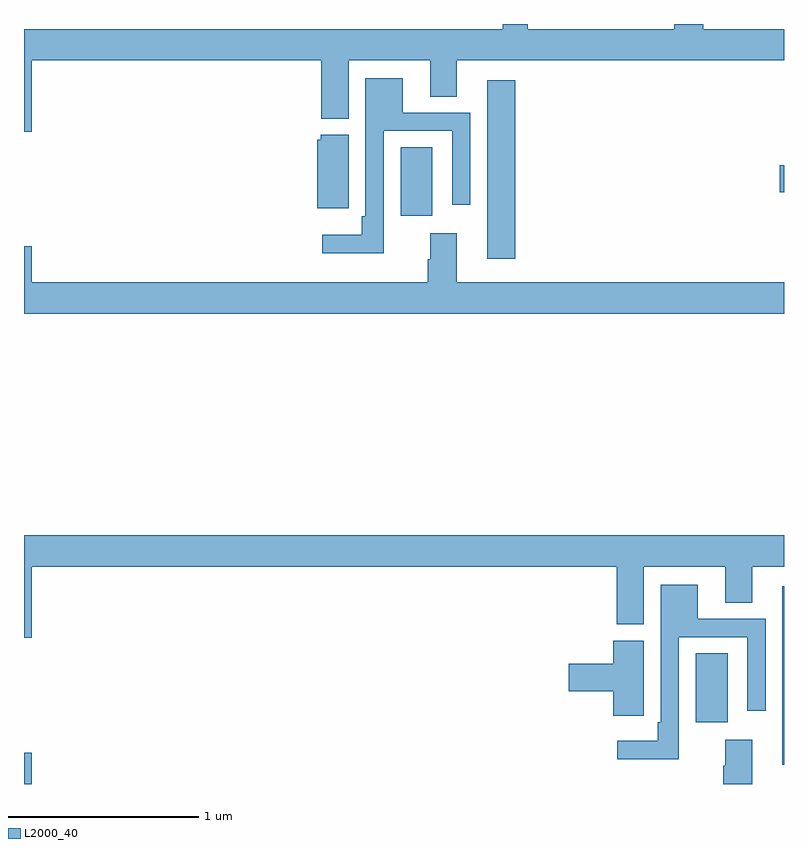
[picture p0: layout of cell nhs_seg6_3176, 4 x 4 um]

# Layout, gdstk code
import gdstk
lib = gdstk.Library(unit=1e-6, precision=1e-09)
def R(c, l, rs):  # rectangles x0, y0, x1, y1
    for r in rs: c.add(gdstk.rectangle(r[:2], r[2:], *l))
def P(c, l, *ps):  # polygons
    for p in ps: c.add(gdstk.Polygon(p, *l))
L2000_40 = (2000, 40)

nhs_seg6_3176 = lib.new_cell('nhs_seg6_3176')
R(nhs_seg6_3176, L2000_40, [(297,971.5,297.04,971.665), (300.992,971.601,301,972.541), (300.536,971.826,300.703,972.188), (299.438,974.265,299.585,975.205), (298.982,974.49,299.149,974.852), (300.978,974.614,301,974.756)])
P(nhs_seg6_3176, L2000_40, [(297.04,975.308),(298.565,975.308),(298.565,975.002),(298.708,975.002),(298.708,975.308),(299.138,975.308),(299.138,975.118),(299.278,975.118),(299.278,975.308),(301,975.308),(301,975.472),(300.575,975.472),(300.575,975.5),(300.422,975.5),(300.422,975.472),(299.651,975.472),(299.651,975.5),(299.521,975.5),(299.521,975.472),(297,975.472),(297,974.934),(297.04,974.934)],
  [(298.893,974.937),(299.253,974.937),(299.253,974.55),(299.349,974.55),(299.349,975.033),(298.993,975.033),(298.993,975.214),(298.797,975.214),(298.797,974.488),(298.777,974.488),(298.777,974.392),(298.569,974.392),(298.569,974.294),(298.893,974.294)],
  [(298.708,974.917),(298.563,974.917),(298.563,974.892),(298.544,974.892),(298.544,974.531),(298.708,974.531)],
  [(301,974.14),(299.278,974.14),(299.278,974.398),(299.138,974.398),(299.138,974.261),(299.126,974.261),(299.126,974.14),(297.04,974.14),(297.04,974.329),(297,974.329),(297,973.976),(301,973.976)],
  [(297.04,972.644),(300.119,972.644),(300.119,972.34),(300.262,972.34),(300.262,972.644),(300.692,972.644),(300.692,972.454),(300.832,972.454),(300.832,972.644),(301,972.644),(301,972.808),(297,972.808),(297,972.27),(297.04,972.27)],
  [(300.447,972.273),(300.807,972.273),(300.807,971.886),(300.903,971.886),(300.903,972.369),(300.547,972.369),(300.547,972.55),(300.351,972.55),(300.351,971.824),(300.335,971.824),(300.335,971.728),(300.123,971.728),(300.123,971.63),(300.447,971.63)],
  [(300.261,971.971),(300.262,971.971),(300.262,972.255),(300.101,972.255),(300.101,972.134),(299.868,972.134),(299.868,971.987),(300.101,971.987),(300.101,971.859),(300.261,971.859)],
  [(300.832,971.734),(300.692,971.734),(300.692,971.597),(300.68,971.597),(300.68,971.5),(300.832,971.5)])

lib.write_gds('nhs_seg6_3176.gds')
